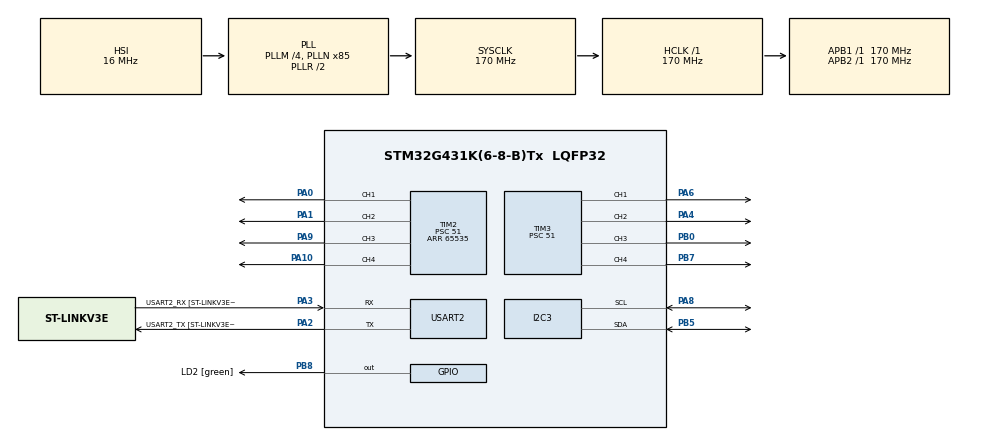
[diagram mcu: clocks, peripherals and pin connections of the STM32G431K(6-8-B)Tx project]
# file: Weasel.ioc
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I2C3.Timing=0x30A0A7FB
Mcu.Family=STM32G4
Mcu.Name=STM32G431K(6-8-B)Tx
Mcu.Package=LQFP32
NVIC.PriorityGroup=NVIC_PRIORITYGROUP_4
PA0.Signal=S_TIM2_CH1
PA1.Signal=S_TIM2_CH2
PA10.Signal=S_TIM2_CH4
PA13.GPIO_Label=T_SWDIO
PA13.Mode=Serial_Wire
PA13.Signal=SYS_JTMS-SWDIO
PA14.GPIO_Label=T_SWCLK
PA14.Mode=Serial_Wire
PA14.Signal=SYS_JTCK-SWCLK
PA2.GPIO_Label=USART2_TX [ST-LINKV3E_VCP_RX]
PA2.Mode=Asynchronous
PA2.Signal=USART2_TX
PA3.GPIO_Label=USART2_RX [ST-LINKV3E_VCP_TX]
PA3.Mode=Asynchronous
PA3.Signal=USART2_RX
PA4.Signal=S_TIM3_CH2
PA6.Signal=S_TIM3_CH1
PA8.Mode=I2C
PA8.Signal=I2C3_SCL
PA9.Signal=S_TIM2_CH3
PB0.Signal=S_TIM3_CH3
PB3.GPIO_Label=T_SWO
PB3.Signal=SYS_JTDO-SWO
PB5.Mode=I2C
PB5.Signal=I2C3_SDA
PB7.Signal=S_TIM3_CH4
PB8-BOOT0.GPIO_Label=LD2 [green]
PB8-BOOT0.Signal=GPIO_Output
ProjectManager.HeapSize=0x200
ProjectManager.StackSize=0x400
ProjectManager.TargetToolchain=STM32CubeIDE
RCC.ADC12Freq_Value=170000000
RCC.AHBFreq_Value=170000000
RCC.APB1Freq_Value=170000000
RCC.APB1TimFreq_Value=170000000
RCC.APB2Freq_Value=170000000
RCC.APB2TimFreq_Value=170000000
RCC.CortexFreq_Value=170000000
RCC.EXTERNAL_CLOCK_VALUE=12288000
RCC.HCLKFreq_Value=170000000
RCC.HSE_VALUE=8000000
RCC.HSI48_VALUE=48000000
RCC.HSI_VALUE=16000000
RCC.LSE_VALUE=32768
RCC.PLLM=RCC_PLLM_DIV4
RCC.PLLN=85
RCC.SYSCLKFreq_VALUE=170000000
RCC.SYSCLKSource=RCC_SYSCLKSOURCE_PLLCLK
RCC.USBFreq_Value=170000000
RCC.VCOOutputFreq_Value=340000000
SH.S_TIM2_CH1.0=TIM2_CH1,PWM Generation1 CH1
SH.S_TIM2_CH2.0=TIM2_CH2,PWM Generation2 CH2
SH.S_TIM2_CH3.0=TIM2_CH3,PWM Generation3 CH3
SH.S_TIM2_CH4.0=TIM2_CH4,PWM Generation4 CH4
SH.S_TIM3_CH1.0=TIM3_CH1,PWM Generation1 CH1
SH.S_TIM3_CH2.0=TIM3_CH2,PWM Generation2 CH2
SH.S_TIM3_CH3.0=TIM3_CH3,PWM Generation3 CH3
SH.S_TIM3_CH4.0=TIM3_CH4,PWM Generation4 CH4
TIM2.Channel-PWM\ Generation1\ CH1=TIM_CHANNEL_1
TIM2.Channel-PWM\ Generation2\ CH2=TIM_CHANNEL_2
TIM2.Channel-PWM\ Generation3\ CH3=TIM_CHANNEL_3
TIM2.Channel-PWM\ Generation4\ CH4=TIM_CHANNEL_4
TIM2.PeriodNoDither=65535
TIM2.Prescaler=51
TIM3.Channel-PWM\ Generation1\ CH1=TIM_CHANNEL_1
TIM3.Channel-PWM\ Generation2\ CH2=TIM_CHANNEL_2
TIM3.Channel-PWM\ Generation3\ CH3=TIM_CHANNEL_3
TIM3.Channel-PWM\ Generation4\ CH4=TIM_CHANNEL_4
TIM3.Prescaler=51
USART2.VirtualMode-Asynchronous=VM_ASYNC
USART2.WordLength=WORDLENGTH_8B
VP_TIM2_VS_ClockSourceINT.Mode=Internal
VP_TIM3_VS_ClockSourceINT.Mode=Internal
board=NUCLEO-G431KB

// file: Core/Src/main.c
/* USER CODE BEGIN Header */
/**
  ******************************************************************************
  * @file           : main.c
  * @brief          : Main program body
  ******************************************************************************
  * @attention
  *
  * Copyright (c) 2023 STMicroelectronics.
  * All rights reserved.
  *
  * This software is licensed under terms that can be found in the LICENSE file
  * in the root directory of this software component.
  * If no LICENSE file comes with this software, it is provided AS-IS.
  *
  ******************************************************************************
  */
/* USER CODE END Header */
#include "main.h"

I2C_HandleTypeDef hi2c3;

TIM_HandleTypeDef htim2;
TIM_HandleTypeDef htim3;

UART_HandleTypeDef huart2;

void SystemClock_Config(void);
static void MX_GPIO_Init(void);
static void MX_USART2_UART_Init(void);
static void MX_TIM3_Init(void);
static void MX_I2C3_Init(void);
static void MX_TIM2_Init(void);
/* USER CODE BEGIN PFP */
//PWM Start and Set Compare 0

void set_PWM_duty(TIM_HandleTypeDef *htim, uint32_t Channel,uint8_t degree){
	//170MHz/((51+1)*(65535+1)) = 49.8845Hz
	//0.3ms plus = counter:978
	//0.5ms plus = counter:1630
	//1ms plus = counter:3260
	//1.5ms plus = counter:4890
	//2ms plus = counter:6530
	const uint16_t min = 1630;
	const uint16_t max = 6530;
	uint32_t count = ((max-min)/UINT8_MAX)*degree +min;
	__HAL_TIM_SET_COMPARE(htim, Channel, count);
}
void set_PWM_dutys(uint8_t degrees[]){
	set_PWM_duty(&htim2, TIM_CHANNEL_1, degrees[0]);
	set_PWM_duty(&htim2, TIM_CHANNEL_2, degrees[1]);
	set_PWM_duty(&htim2, TIM_CHANNEL_3, degrees[2]);
	set_PWM_duty(&htim2, TIM_CHANNEL_4, UINT8_MAX - degrees[3]);

	set_PWM_duty(&htim3, TIM_CHANNEL_1, degrees[4]);
	set_PWM_duty(&htim3, TIM_CHANNEL_2, UINT8_MAX - degrees[5]);
	set_PWM_duty(&htim3, TIM_CHANNEL_3, degrees[6]);
	set_PWM_duty(&htim3, TIM_CHANNEL_4, degrees[7]);

//	HAL_UART_Transmit(&huart2, degrees, 8, 0xFFFF);
}
void PWM_Start(TIM_HandleTypeDef *htim, uint32_t Channel){
	if(HAL_TIM_PWM_Start(htim, Channel)!=HAL_OK){
		Error_Handler();
	}
	set_PWM_duty(htim, Channel, 0);
}
/* USER CODE END PFP */

int main(void)
{

  /* MCU Configuration--------------------------------------------------------*/

  /* Reset of all peripherals, Initializes the Flash interface and the Systick. */
  HAL_Init();

  /* Configure the system clock */
  SystemClock_Config();

  /* Initialize all configured peripherals */
  MX_GPIO_Init();
  MX_USART2_UART_Init();
  MX_TIM3_Init();
  MX_I2C3_Init();
  MX_TIM2_Init();
  /* USER CODE BEGIN 2 */
  PWM_Start(&htim2, TIM_CHANNEL_1);
  PWM_Start(&htim2, TIM_CHANNEL_2);
  PWM_Start(&htim2, TIM_CHANNEL_3);
  PWM_Start(&htim2, TIM_CHANNEL_4);

  PWM_Start(&htim3, TIM_CHANNEL_1);
  PWM_Start(&htim3, TIM_CHANNEL_2);
  PWM_Start(&htim3, TIM_CHANNEL_3);
  PWM_Start(&htim3, TIM_CHANNEL_4);

  uint8_t receive_data[8]={0};
  set_PWM_dutys(receive_data);
  /* USER CODE END 2 */

  /* Infinite loop */
  /* USER CODE BEGIN WHILE */
  uint8_t index = 0;
  uint8_t data[20];
  while (1)
  {
	  uint8_t d;
	  HAL_UART_Receive(&huart2, &d, 1, 0xFFFF);
	  data[index] = d;
	  index++;
	  if(d==0){
		  if(index==9) set_PWM_dutys(data);
		  index = 0;
	  }
	  if(index >=9)index = 0;

//	  for(uint8_t i =0;i<UINT8_MAX;i++){
//		  set_PWM_duty(&htim1, TIM_CHANNEL_1, i);
//		  HAL_Delay(30);
//	  }
//	  set_PWM_duty(&htim1, TIM_CHANNEL_1, 0);
//	  HAL_Delay(1000);
//	  set_PWM_duty(&htim1, TIM_CHANNEL_1, UINT8_MAX);
//	  HAL_Delay(1000);
    /* USER CODE END WHILE */

  }
}

void SystemClock_Config(void)
{
  RCC_OscInitTypeDef RCC_OscInitStruct = {0};
  RCC_ClkInitTypeDef RCC_ClkInitStruct = {0};

  /** Configure the main internal regulator output voltage
  */
  HAL_PWREx_ControlVoltageScaling(PWR_REGULATOR_VOLTAGE_SCALE1_BOOST);

  /** Initializes the RCC Oscillators according to the specified parameters
  * in the RCC_OscInitTypeDef structure.
  */
  RCC_OscInitStruct.OscillatorType = RCC_OSCILLATORTYPE_HSI;
  RCC_OscInitStruct.HSIState = RCC_HSI_ON;
  RCC_OscInitStruct.HSICalibrationValue = RCC_HSICALIBRATION_DEFAULT;
  RCC_OscInitStruct.PLL.PLLState = RCC_PLL_ON;
  RCC_OscInitStruct.PLL.PLLSource = RCC_PLLSOURCE_HSI;
  RCC_OscInitStruct.PLL.PLLM = RCC_PLLM_DIV4;
  RCC_OscInitStruct.PLL.PLLN = 85;
  RCC_OscInitStruct.PLL.PLLP = RCC_PLLP_DIV2;
  RCC_OscInitStruct.PLL.PLLQ = RCC_PLLQ_DIV2;
  RCC_OscInitStruct.PLL.PLLR = RCC_PLLR_DIV2;
  if (HAL_RCC_OscConfig(&RCC_OscInitStruct) != HAL_OK)
  {
    Error_Handler();
  }

  /** Initializes the CPU, AHB and APB buses clocks
  */
  RCC_ClkInitStruct.ClockType = RCC_CLOCKTYPE_HCLK|RCC_CLOCKTYPE_SYSCLK
                              |RCC_CLOCKTYPE_PCLK1|RCC_CLOCKTYPE_PCLK2;
  RCC_ClkInitStruct.SYSCLKSource = RCC_SYSCLKSOURCE_PLLCLK;
  RCC_ClkInitStruct.AHBCLKDivider = RCC_SYSCLK_DIV1;
  RCC_ClkInitStruct.APB1CLKDivider = RCC_HCLK_DIV1;
  RCC_ClkInitStruct.APB2CLKDivider = RCC_HCLK_DIV1;

  if (HAL_RCC_ClockConfig(&RCC_ClkInitStruct, FLASH_LATENCY_4) != HAL_OK)
  {
    Error_Handler();
  }
}

static void MX_I2C3_Init(void)
{

  hi2c3.Instance = I2C3;
  hi2c3.Init.Timing = 0x30A0A7FB;
  hi2c3.Init.OwnAddress1 = 0;
  hi2c3.Init.AddressingMode = I2C_ADDRESSINGMODE_7BIT;
  hi2c3.Init.DualAddressMode = I2C_DUALADDRESS_DISABLE;
  hi2c3.Init.OwnAddress2 = 0;
  hi2c3.Init.OwnAddress2Masks = I2C_OA2_NOMASK;
  hi2c3.Init.GeneralCallMode = I2C_GENERALCALL_DISABLE;
  hi2c3.Init.NoStretchMode = I2C_NOSTRETCH_DISABLE;
  if (HAL_I2C_Init(&hi2c3) != HAL_OK)
  {
    Error_Handler();
  }

  /** Configure Analogue filter
  */
  if (HAL_I2CEx_ConfigAnalogFilter(&hi2c3, I2C_ANALOGFILTER_ENABLE) != HAL_OK)
  {
    Error_Handler();
  }

  /** Configure Digital filter
  */
  if (HAL_I2CEx_ConfigDigitalFilter(&hi2c3, 0) != HAL_OK)
  {
    Error_Handler();
  }
  /* USER CODE BEGIN I2C3_Init 2 */
  //TODO: Write!
  uint8_t buf[5];
  HAL_I2C_Master_Transmit(&hi2c3, 0x00, buf, 1, 0xFFFF);
  HAL_I2C_Master_Receive(&hi2c3, 0xb9, buf, 1, 0xFFFF);
  /* USER CODE END I2C3_Init 2 */

}

static void MX_TIM2_Init(void)
{

  TIM_ClockConfigTypeDef sClockSourceConfig = {0};
  TIM_MasterConfigTypeDef sMasterConfig = {0};
  TIM_OC_InitTypeDef sConfigOC = {0};

  htim2.Instance = TIM2;
  htim2.Init.Prescaler = 51;
  htim2.Init.CounterMode = TIM_COUNTERMODE_UP;
  htim2.Init.Period = 65535;
  htim2.Init.ClockDivision = TIM_CLOCKDIVISION_DIV1;
  htim2.Init.AutoReloadPreload = TIM_AUTORELOAD_PRELOAD_DISABLE;
  if (HAL_TIM_Base_Init(&htim2) != HAL_OK)
  {
    Error_Handler();
  }
  sClockSourceConfig.ClockSource = TIM_CLOCKSOURCE_INTERNAL;
  if (HAL_TIM_ConfigClockSource(&htim2, &sClockSourceConfig) != HAL_OK)
  {
    Error_Handler();
  }
  if (HAL_TIM_PWM_Init(&htim2) != HAL_OK)
  {
    Error_Handler();
  }
  sMasterConfig.MasterOutputTrigger = TIM_TRGO_RESET;
  sMasterConfig.MasterSlaveMode = TIM_MASTERSLAVEMODE_DISABLE;
  if (HAL_TIMEx_MasterConfigSynchronization(&htim2, &sMasterConfig) != HAL_OK)
  {
    Error_Handler();
  }
  sConfigOC.OCMode = TIM_OCMODE_PWM1;
  sConfigOC.Pulse = 0;
  sConfigOC.OCPolarity = TIM_OCPOLARITY_HIGH;
  sConfigOC.OCFastMode = TIM_OCFAST_DISABLE;
  if (HAL_TIM_PWM_ConfigChannel(&htim2, &sConfigOC, TIM_CHANNEL_1) != HAL_OK)
  {
    Error_Handler();
  }
  if (HAL_TIM_PWM_ConfigChannel(&htim2, &sConfigOC, TIM_CHANNEL_2) != HAL_OK)
  {
    Error_Handler();
  }
  if (HAL_TIM_PWM_ConfigChannel(&htim2, &sConfigOC, TIM_CHANNEL_3) != HAL_OK)
  {
    Error_Handler();
  }
  if (HAL_TIM_PWM_ConfigChannel(&htim2, &sConfigOC, TIM_CHANNEL_4) != HAL_OK)
  {
    Error_Handler();
  }
  HAL_TIM_MspPostInit(&htim2);

}

static void MX_TIM3_Init(void)
{

  TIM_ClockConfigTypeDef sClockSourceConfig = {0};
  TIM_MasterConfigTypeDef sMasterConfig = {0};
  TIM_OC_InitTypeDef sConfigOC = {0};

  htim3.Instance = TIM3;
  htim3.Init.Prescaler = 51;
  htim3.Init.CounterMode = TIM_COUNTERMODE_UP;
  htim3.Init.Period = 65535;
  htim3.Init.ClockDivision = TIM_CLOCKDIVISION_DIV1;
  htim3.Init.AutoReloadPreload = TIM_AUTORELOAD_PRELOAD_DISABLE;
  if (HAL_TIM_Base_Init(&htim3) != HAL_OK)
  {
    Error_Handler();
  }
  sClockSourceConfig.ClockSource = TIM_CLOCKSOURCE_INTERNAL;
  if (HAL_TIM_ConfigClockSource(&htim3, &sClockSourceConfig) != HAL_OK)
  {
    Error_Handler();
  }
  if (HAL_TIM_PWM_Init(&htim3) != HAL_OK)
  {
    Error_Handler();
  }
  sMasterConfig.MasterOutputTrigger = TIM_TRGO_RESET;
  sMasterConfig.MasterSlaveMode = TIM_MASTERSLAVEMODE_DISABLE;
  if (HAL_TIMEx_MasterConfigSynchronization(&htim3, &sMasterConfig) != HAL_OK)
  {
    Error_Handler();
  }
  sConfigOC.OCMode = TIM_OCMODE_PWM1;
  sConfigOC.Pulse = 0;
  sConfigOC.OCPolarity = TIM_OCPOLARITY_HIGH;
  sConfigOC.OCFastMode = TIM_OCFAST_DISABLE;
  if (HAL_TIM_PWM_ConfigChannel(&htim3, &sConfigOC, TIM_CHANNEL_1) != HAL_OK)
  {
    Error_Handler();
  }
  if (HAL_TIM_PWM_ConfigChannel(&htim3, &sConfigOC, TIM_CHANNEL_2) != HAL_OK)
  {
    Error_Handler();
  }
  if (HAL_TIM_PWM_ConfigChannel(&htim3, &sConfigOC, TIM_CHANNEL_3) != HAL_OK)
  {
    Error_Handler();
  }
  if (HAL_TIM_PWM_ConfigChannel(&htim3, &sConfigOC, TIM_CHANNEL_4) != HAL_OK)
  {
    Error_Handler();
  }
  HAL_TIM_MspPostInit(&htim3);

}

static void MX_USART2_UART_Init(void)
{

  huart2.Instance = USART2;
  huart2.Init.BaudRate = 115200;
  huart2.Init.WordLength = UART_WORDLENGTH_8B;
  huart2.Init.StopBits = UART_STOPBITS_1;
  huart2.Init.Parity = UART_PARITY_NONE;
  huart2.Init.Mode = UART_MODE_TX_RX;
  huart2.Init.HwFlowCtl = UART_HWCONTROL_NONE;
  huart2.Init.OverSampling = UART_OVERSAMPLING_16;
  huart2.Init.OneBitSampling = UART_ONE_BIT_SAMPLE_DISABLE;
  huart2.Init.ClockPrescaler = UART_PRESCALER_DIV1;
  huart2.AdvancedInit.AdvFeatureInit = UART_ADVFEATURE_NO_INIT;
  if (HAL_UART_Init(&huart2) != HAL_OK)
  {
    Error_Handler();
  }
  if (HAL_UARTEx_SetTxFifoThreshold(&huart2, UART_TXFIFO_THRESHOLD_1_8) != HAL_OK)
  {
    Error_Handler();
  }
  if (HAL_UARTEx_SetRxFifoThreshold(&huart2, UART_RXFIFO_THRESHOLD_1_8) != HAL_OK)
  {
    Error_Handler();
  }
  if (HAL_UARTEx_DisableFifoMode(&huart2) != HAL_OK)
  {
    Error_Handler();
  }

}

static void MX_GPIO_Init(void)
{
  GPIO_InitTypeDef GPIO_InitStruct = {0};

  /* GPIO Ports Clock Enable */
  __HAL_RCC_GPIOA_CLK_ENABLE();
  __HAL_RCC_GPIOB_CLK_ENABLE();

  /*Configure GPIO pin Output Level */
  HAL_GPIO_WritePin(LD2_GPIO_Port, LD2_Pin, GPIO_PIN_RESET);

  /*Configure GPIO pin : LD2_Pin */
  GPIO_InitStruct.Pin = LD2_Pin;
  GPIO_InitStruct.Mode = GPIO_MODE_OUTPUT_PP;
  GPIO_InitStruct.Pull = GPIO_NOPULL;
  GPIO_InitStruct.Speed = GPIO_SPEED_FREQ_LOW;
  HAL_GPIO_Init(LD2_GPIO_Port, &GPIO_InitStruct);

}

void Error_Handler(void)
{
  /* USER CODE BEGIN Error_Handler_Debug */
  /* User can add his own implementation to report the HAL error return state */
  __disable_irq();
  while (1)
  {
	  HAL_UART_Transmit(&huart2,(uint8_t *)"ERROR\r\n", 7, 0xFFFF);
  }
  /* USER CODE END Error_Handler_Debug */
}
